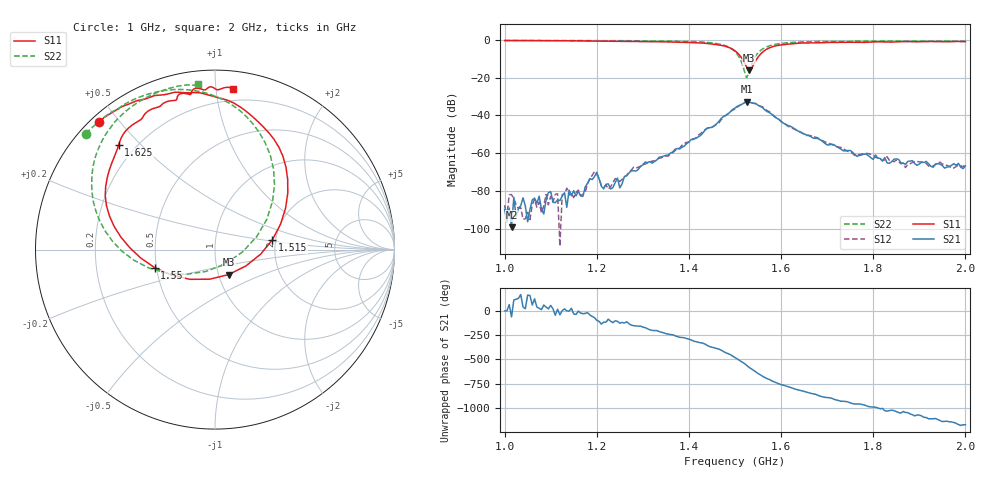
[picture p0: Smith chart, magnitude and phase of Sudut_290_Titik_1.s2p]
# Hz S RI R 50
! CMT, C1220, 16058040, 17.2.0/1
! Date: 14/08/2018 12:58:28
! Data: Format (Calibration Info)
! Freq  S11: Re/Im (F2)  S21: Re/Im (F2)  S12: Re/Im (F2)  S22: Re/Im (F2)
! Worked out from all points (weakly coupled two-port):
!   201 points, 1 GHz to 2 GHz, reference 50 ohm
!   highest |S21| = -32.69 dB at 1.525 GHz (marker M1); lowest = -99.3 dB at 1.015 GHz (marker M2)
!   lowest |S11| = -16.0 dB at 1.53 GHz (marker M3), VSWR 1.38, Z = 55.8 - j15.9 ohm
!   |S11| at or under -10 dB: 1.516 GHz to 1.548 GHz (32.1 MHz wide, 2.1 % of centre)
!   |S22| runs from -20.1 to -0.3 dB; largest |S21 - S12| = 0.00097
!   S11 on the Smith chart (normalised r, x): 1 GHz: 0.02, +0.44; 1.515 GHz: 1.92, +0.24; 1.55 GHz: 0.49, -0.11; 1.625 GHz: 0.14, +0.43; 2 GHz: 0.12, +1.11
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1e9  -0.6474 0.7117  3.23e-05 -1.2e-06  -4.14e-05 -2.31e-06  -0.7192 0.6458
1.015e9  -0.6302 0.7244  4.97e-06 -9.7e-06  -5.08e-05 6.19e-05  -0.7084 0.6567
1.17e9  -0.4621 0.8185  6.12e-05 -3.68e-05  7.16e-05 -3.7e-05  -0.5767 0.7657
1.195e9  -0.4252 0.832  7.88e-05 -0.000223  0.000146 -0.000289  -0.5477 0.7776
1.2e9  -0.4183 0.8329  -4.5e-05 -0.000309  6.82e-07 -0.000272  -0.543 0.7777
1.215e9  -0.3982 0.8368  -5.12e-05 -0.000101  -3.56e-05 -0.000121  -0.5353 0.786
1.225e9  -0.3825 0.8413  8.59e-06 -0.000153  -1.06e-05 -0.000111  -0.5255 0.7958
1.245e9  -0.3497 0.8536  -7.11e-05 -0.000206  -0.000127 -0.000154  -0.5016 0.8112
1.25e9  -0.3422 0.8564  -7.39e-05 -9.48e-05  -9.61e-05 -0.000148  -0.4949 0.8151
1.275e9  -0.3026 0.861  -0.000286 -0.000179  -0.000277 -0.000222  -0.4603 0.8328
1.335e9  -0.1907 0.875  -0.000639 0.000429  -0.000541 0.000493  -0.3599 0.87
1.45e9  0.1916 0.7559  0.00465 -0.0013  0.00461 -0.00165  0.0462 0.8339
1.5e9  0.4055 0.315  -0.00828 -0.0133  -0.00782 -0.0125  0.3316 0.3624
1.515e9  0.3202 0.0548  -0.0192 -0.00444  -0.0193 -0.00501  0.2325 0.0721
1.525e9  0.1716 -0.0917  -0.0216 0.00842  -0.0218 0.00839  0.0609 -0.0778
1.53e9  0.0756 -0.1391  -0.0167 0.0149  -0.0169 0.015  -0.0486 -0.1213
1.55e9  -0.3356 -0.1009  0.00542 0.0178  0.00472 0.018  -0.4518 -0.0592
1.58e9  -0.6045 0.2444  0.0106 -0.000555  0.011 -0.00105  -0.6775 0.2661
1.625e9  -0.537 0.5821  0.000937 -0.00468  0.000982 -0.00444  -0.6493 0.5625
1.67e9  -0.4225 0.7182  -0.0018 -0.00173  -0.00193 -0.00186  -0.5663 0.7011
1.835e9  -0.1384 0.8638  0.000343 0.000412  0.000405 0.0005  -0.3151 0.8782
2e9  0.0977 0.8962  -3.93e-05 -0.000453  -5.09e-05 -0.00053  -0.0975 0.9225
